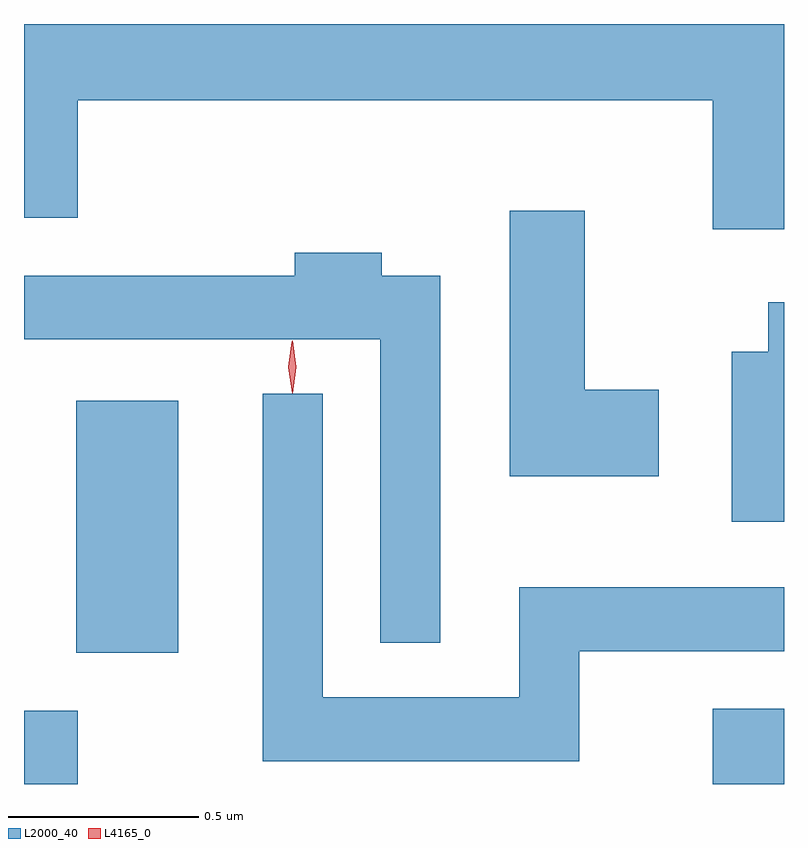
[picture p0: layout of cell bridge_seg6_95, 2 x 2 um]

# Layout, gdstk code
import gdstk
lib = gdstk.Library(unit=1e-6, precision=1e-09)
def R(c, l, rs):  # rectangles x0, y0, x1, y1
    for r in rs: c.add(gdstk.rectangle(r[:2], r[2:], *l))
def P(c, l, *ps):  # polygons
    for p in ps: c.add(gdstk.Polygon(p, *l))
L2000_40 = (2000, 40)
L4165_0 = (4165, 0)

bridge_seg6_95 = lib.new_cell('bridge_seg6_95')
R(bridge_seg6_95, L2000_40, [(1119.038,1665.896,1119.179,1666.089), (1120.851,1665.896,1121.038,1666.094), (1119.176,1666.241,1119.444,1666.904)])
P(bridge_seg6_95, L2000_40, [(1121.038,1667.896),(1119.038,1667.896),(1119.038,1667.386),(1119.179,1667.386),(1119.179,1667.696),(1120.851,1667.696),(1120.851,1667.356),(1121.038,1667.356)],
  [(1120.709,1666.934),(1120.514,1666.934),(1120.514,1667.404),(1120.316,1667.404),(1120.316,1666.706),(1120.709,1666.706)],
  [(1120.134,1667.234),(1119.979,1667.234),(1119.979,1667.294),(1119.751,1667.294),(1119.751,1667.234),(1119.038,1667.234),(1119.038,1667.066),(1119.976,1667.066),(1119.976,1666.268),(1120.134,1666.268)],
  [(1121.038,1667.164),(1120.996,1667.164),(1120.996,1667.034),(1120.901,1667.034),(1120.901,1666.586),(1121.038,1666.586)],
  [(1120.499,1666.246),(1121.038,1666.246),(1121.038,1666.414),(1120.341,1666.414),(1120.341,1666.124),(1119.824,1666.124),(1119.824,1666.923),(1119.666,1666.923),(1119.666,1665.956),(1120.499,1665.956)])
P(bridge_seg6_95, L4165_0, [(1119.744,1666.924),(1119.744,1666.924),(1119.734,1666.993),(1119.744,1667.062),(1119.744,1667.063),(1119.745,1667.062),(1119.754,1666.993),(1119.745,1666.924)],
  [(1119.744,1666.927),(1119.744,1666.927),(1119.734,1666.994),(1119.743,1667.06),(1119.744,1667.06),(1119.744,1667.06),(1119.754,1666.994),(1119.744,1666.927)])

lib.write_gds('bridge_seg6_95.gds')
